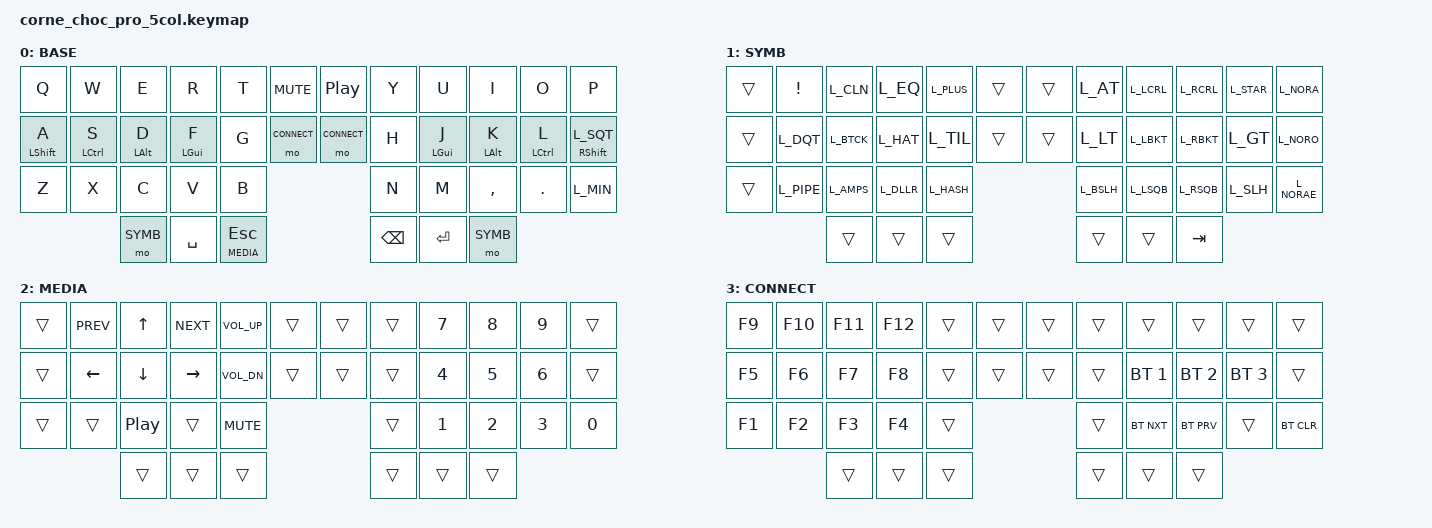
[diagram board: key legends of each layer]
/*
 * Copyright (c) 2020 The ZMK Contributors
 *
 * SPDX-License-Identifier: MIT
 */

#include <behaviors.dtsi>
#include <dt-bindings/zmk/keys.h>
#include <dt-bindings/zmk/bt.h>
#include <dt-bindings/zmk/rgb.h>

// Local import of custom keybinds
#include "includes/keymaps.dtsi"

#define BASE 0
#define SYMB 1
#define MEDIA 2
#define CONNECT 3

&mt {
    flavor = "balanced";
    require-prior-idle-ms = <120>;
    tapping-term-ms = <200>;
    quick-tap-ms = <150>;
    hold-trigger-on-release;
};

/ {
    chosen {
        zmk,physical-layout = &five_col_layout;
    };

    keymap {
        compatible = "zmk,keymap";
        base_layer {
            display-name = "BASE";
            bindings = <
  &kp Q        &kp W        &kp E       &kp R       &kp T  &kp C_MUTE   &kp C_PP     &kp Y     &kp U       &kp I       &kp O        &kp P
  &mt LSHFT A  &mt LCTRL S  &mt LALT D  &mt LGUI F  &kp G  &mo CONNECT  &mo CONNECT  &kp H     &mt LGUI J  &mt LALT K  &mt LCTRL L  &mt RSHFT L_SQT
  &kp Z        &kp X        &kp C       &kp V       &kp B                            &kp N     &kp M       &kp COMMA   &kp DOT      &kp L_MIN
                            &mo SYMB    &kp SPACE   &lt MEDIA ESC                    &kp BSPC  &kp RET     &mo SYMB
            >;
        };

        symbols_layer {
            display-name = "SYMB";
            bindings = <
  &trans  &kp EXCL    &kp L_CLN   &kp L_EQ    &kp L_PLUS  &trans  &trans  &kp L_AT    &kp L_LCRL  &kp L_RCRL  &kp L_STAR  &kp L_NORA
  &trans  &kp L_DQT   &kp L_BTCK  &kp L_HAT   &kp L_TIL   &trans  &trans  &kp L_LT    &kp L_LBKT  &kp L_RBKT  &kp L_GT    &kp L_NORO
  &trans  &kp L_PIPE  &kp L_AMPS  &kp L_DLLR  &kp L_HASH                  &kp L_BSLH  &kp L_LSQB  &kp L_RSQB  &kp L_SLH   &kp L_NORAE
                      &trans      &trans      &trans                      &trans     &trans       &kp TAB
            >;
        };

        media_layer {
            display-name = "MEDIA";
            bindings = <
  &trans  &kp C_PREV  &kp UP    &kp C_NEXT  &kp C_VOL_UP  &trans  &trans  &trans  &kp N7  &kp N8  &kp N9  &trans
  &trans  &kp LEFT    &kp DOWN  &kp RIGHT   &kp C_VOL_DN  &trans  &trans  &trans  &kp N4  &kp N5  &kp N6  &trans
  &trans  &trans      &kp C_PP  &trans      &kp C_MUTE                    &trans  &kp N1  &kp N2  &kp N3  &kp N0
                      &trans    &trans      &trans                        &trans  &trans  &trans
            >;
        };

        conn_layer {
            display-name = "CONNECT";
            bindings = <
  &kp F9  &kp F10  &kp F11  &kp F12  &trans  &trans  &trans  &trans  &trans        &trans        &trans        &trans
  &kp F5  &kp F6   &kp F7   &kp F8   &trans  &trans  &trans  &trans  &bt BT_SEL 1  &bt BT_SEL 2  &bt BT_SEL 3  &trans
  &kp F1  &kp F2   &kp F3   &kp F4   &trans                  &trans  &bt BT_NXT    &bt BT_PRV    &trans        &bt BT_CLR
                   &trans   &trans   &trans                  &trans  &trans        &trans
            >;
        };
    };
};
